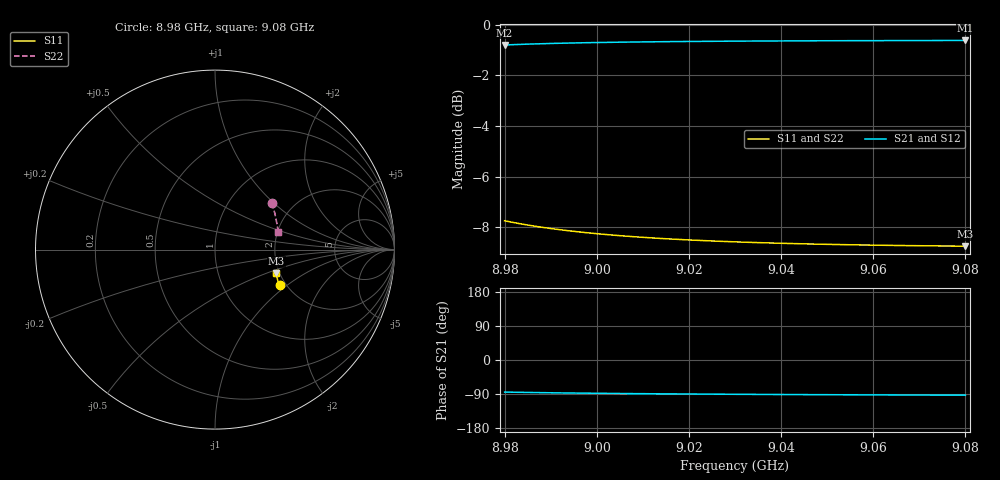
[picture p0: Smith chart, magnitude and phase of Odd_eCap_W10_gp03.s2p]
! Sonnet Data File
! From: emgraph Version : 16.52
! From Project: Resonator2_extremeCap2
! Data is De-embedded
! Data File Written: 10/10/2017 08:27:13
!< HDATE 10/10/2017 01:06:54
!< MDATE 10/10/2017 01:06:54
!< PARAMS
!< Pwid1 = 2000.0
!< Pwid2 = 2000.0
!< Air_gap = 6.0
!< Width = 10.0
!< Gap = 3.0
!< END PARAMS
# GHZ S MA R 35.98000
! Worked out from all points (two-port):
!   1001 points, 8.98 GHz to 9.08 GHz, reference 35.98 ohm
!   highest |S21| = -0.62 dB at 9.08 GHz (marker M1); lowest = -0.8 dB at 8.98 GHz (marker M2)
!   |S21| within 3 dB of the highest: start of sweep to end of sweep
!   lowest |S11| = -8.7 dB at 9.08 GHz (marker M3), VSWR 2.15, Z = 69.1 - j20.9 ohm
!   |S11| at or under -10 dB: nowhere
!   |S22| runs from -8.7 to -7.7 dB; largest |S21 - S12| = 0
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8.98  0.4104 -28.8  0.9118 -84.7  0.9118 -84.7  0.4103 39.3
!< P1 F=8.98 Eeff=(5.37116343 -2.3769e-5) Z0=(35.9716001 8.05996e-5) R=0.0 C=0.0
!< P2 F=8.98 Eeff=(5.37116343 -2.3769e-5) Z0=(35.9716001 8.05996e-5) R=0.0 C=0.0
8.9805  0.4096 -28.7  0.9122 -84.8  0.9122 -84.8  0.4094 39.0
8.9824  0.4064 -28.3  0.9136 -85.2  0.9136 -85.2  0.4063 37.9
8.9845  0.4033 -28.0  0.915 -85.6  0.915 -85.6  0.4032 36.7
8.9882  0.3984 -27.4  0.9172 -86.3  0.9172 -86.3  0.3983 34.9
8.9902  0.3961 -27.1  0.9182 -86.6  0.9182 -86.6  0.396 33.9
8.9923  0.3938 -26.7  0.9192 -86.9  0.9192 -86.9  0.3937 33.0
8.9967  0.3897 -26.1  0.9209 -87.5  0.9209 -87.5  0.3896 31.2
9.0005  0.3867 -25.7  0.9222 -87.9  0.9222 -87.9  0.3866 29.8
9.0045  0.3839 -25.2  0.9233 -88.4  0.9233 -88.4  0.3838 28.4
9.0088  0.3813 -24.8  0.9244 -88.8  0.9244 -88.8  0.3813 27.1
9.0134  0.379 -24.3  0.9254 -89.2  0.9254 -89.2  0.379 25.9
9.0172  0.3773 -24.0  0.9261 -89.5  0.9261 -89.5  0.3773 24.9
9.0213  0.3757 -23.7  0.9267 -89.9  0.9267 -89.9  0.3757 23.9
9.0256  0.3743 -23.4  0.9273 -90.2  0.9273 -90.2  0.3742 23.0
9.03  0.3729 -23.1  0.9278 -90.5  0.9278 -90.5  0.3729 22.1
9.038  0.371 -22.6  0.9286 -91.0  0.9286 -91.0  0.3709 20.7
9.0467  0.3693 -22.2  0.9293 -91.4  0.9293 -91.4  0.3693 19.3
9.0546  0.3681 -21.8  0.9298 -91.8  0.9298 -91.8  0.3681 18.2
9.0634  0.3671 -21.5  0.9302 -92.2  0.9302 -92.2  0.367 17.1
9.0718  0.3663 -21.2  0.9305 -92.5  0.9305 -92.5  0.3663 16.1
9.08  0.3657 -21.0  0.9307 -92.9  0.9307 -92.9  0.3657 15.3
